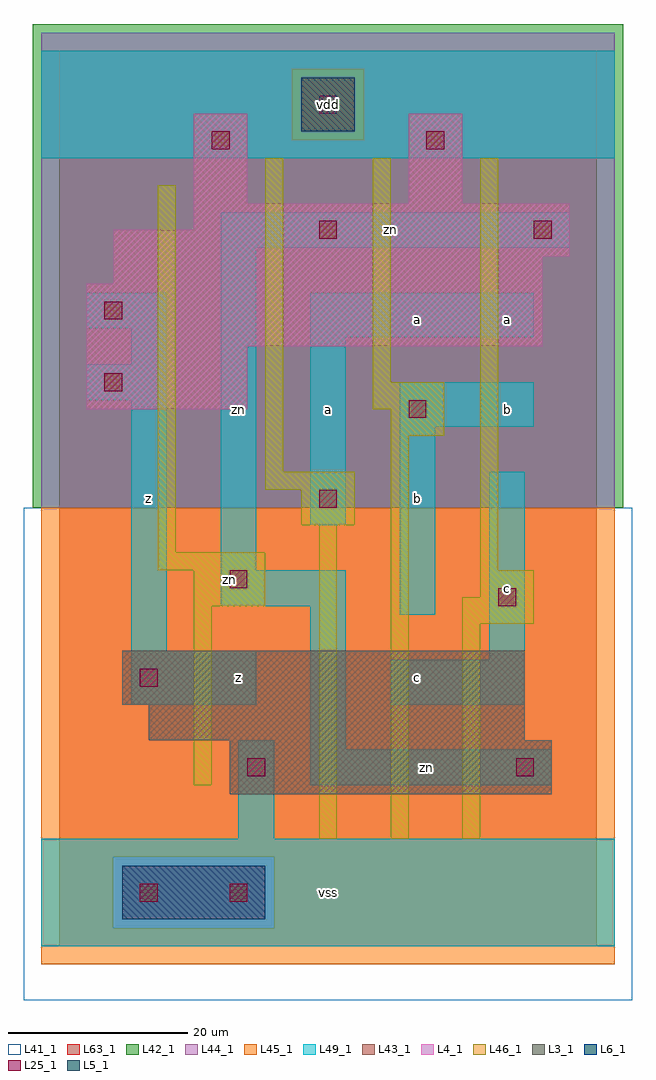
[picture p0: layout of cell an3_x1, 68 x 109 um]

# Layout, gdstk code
import gdstk
lib = gdstk.Library(unit=1e-6, precision=1e-09)
def R(c, l, rs):  # rectangles x0, y0, x1, y1
    for r in rs: c.add(gdstk.rectangle(r[:2], r[2:], *l))
L3_1 = (3, 1)
L4_1 = (4, 1)
L5_1 = (5, 1)
L6_1 = (6, 1)
L25_1 = (25, 1)
L41_1 = (41, 1)
L42_1 = (42, 1)
L43_1 = (43, 1)
L44_1 = (44, 1)
L45_1 = (45, 1)
L46_1 = (46, 1)
L49_1 = (49, 1)
L63_1 = (63, 1)

an3_x1 = lib.new_cell('an3_x1')
R(an3_x1, L3_1, [(19,17,55,23), (10,23,52,27), (7,27,52,33)])
R(an3_x1, L4_1, [(3,60,21,67), (3,67,54,74), (6,74,54,77), (6,77,57,80), (15,80,57,83), (15,83,21,93), (39,83,45,93)])
R(an3_x1, L5_1, [(27,91,33,97)])
R(an3_x1, L6_1, [(7,3,23,9)])
R(an3_x1, L25_1, [(9,5,11,7), (19,5,21,7), (21,19,23,21), (51,19,53,21), (9,29,11,31), (49,38,51,40), (19,40,21,42), (29,49,31,51), (39,59,41,61), (5,62,7,64), (5,70,7,72), (29,79,31,81), (53,79,55,81), (17,89,19,91), (41,89,43,91), (29,93,31,95)])
R(an3_x1, L41_1, [(-4,-6,64,49), (-3,-3,63,49)])
R(an3_x1, L42_1, [(-3,49,63,103)])
R(an3_x1, L43_1, [(7,3,23,9), (19,17,55,23), (10,23,52,27), (7,27,52,33), (3,60,21,67), (3,67,54,74), (6,74,54,77), (6,77,57,80), (15,80,57,83), (15,83,21,93), (39,83,45,93), (27,91,33,97)])
R(an3_x1, L44_1, [(6,2,24,10), (-2,49,62,90), (-2,90,26,98), (34,90,62,98), (-2,98,62,102)])
R(an3_x1, L45_1, [(-2,-2,62,2), (-2,2,6,10), (24,2,62,10), (-2,10,62,49), (26,90,34,98)])
R(an3_x1, L46_1, [(29,12,31,47), (37,12,39,57), (45,12,47,36), (15,18,17,38), (45,36,53,39), (15,38,23,42), (47,39,53,42), (11,42,23,44), (47,42,49,88), (11,44,13,85), (27,47,33,51), (23,51,33,53), (23,53,25,88), (37,57,43,60), (35,60,43,63), (35,63,37,88)])
R(an3_x1, L49_1, [(-2,0,62,12), (20,12,24,23), (28,18,55,22), (28,22,32,38), (8,27,22,33), (37,27,52,32), (48,32,52,53), (8,33,12,61), (38,37,42,58), (18,38,32,42), (18,42,22,78), (28,47,32,68), (38,58,53,63), (3,61,12,65), (8,65,12,69), (28,68,53,73), (3,69,12,73), (18,78,57,82), (-2,88,62,100)])
R(an3_x1, L63_1, [(0,0,60,100)])
an3_x1.add(gdstk.Label('zn', (19,41), layer=49, texttype=1))
an3_x1.add(gdstk.Label('z', (10,50), layer=49, texttype=1))
an3_x1.add(gdstk.Label('z', (10,50), layer=49, texttype=1))
an3_x1.add(gdstk.Label('z', (20,30), layer=49, texttype=1))
an3_x1.add(gdstk.Label('z', (20,30), layer=49, texttype=1))
an3_x1.add(gdstk.Label('zn', (20,60), layer=49, texttype=1))
an3_x1.add(gdstk.Label('vss', (30,6), layer=49, texttype=1))
an3_x1.add(gdstk.Label('vss', (30,6), layer=49, texttype=1))
an3_x1.add(gdstk.Label('c', (40,30), layer=49, texttype=1))
an3_x1.add(gdstk.Label('c', (40,30), layer=49, texttype=1))
an3_x1.add(gdstk.Label('b', (40,50), layer=49, texttype=1))
an3_x1.add(gdstk.Label('b', (40,50), layer=49, texttype=1))
an3_x1.add(gdstk.Label('a', (30,60), layer=49, texttype=1))
an3_x1.add(gdstk.Label('a', (30,60), layer=49, texttype=1))
an3_x1.add(gdstk.Label('a', (40,70), layer=49, texttype=1))
an3_x1.add(gdstk.Label('a', (40,70), layer=49, texttype=1))
an3_x1.add(gdstk.Label('vdd', (30,94), layer=49, texttype=1))
an3_x1.add(gdstk.Label('vdd', (30,94), layer=49, texttype=1))
an3_x1.add(gdstk.Label('zn', (41,20), layer=49, texttype=1))
an3_x1.add(gdstk.Label('c', (50,40), layer=49, texttype=1))
an3_x1.add(gdstk.Label('c', (50,40), layer=49, texttype=1))
an3_x1.add(gdstk.Label('b', (50,60), layer=49, texttype=1))
an3_x1.add(gdstk.Label('a', (50,70), layer=49, texttype=1))
an3_x1.add(gdstk.Label('b', (50,60), layer=49, texttype=1))
an3_x1.add(gdstk.Label('a', (50,70), layer=49, texttype=1))
an3_x1.add(gdstk.Label('zn', (37,80), layer=49, texttype=1))

lib.write_gds('an3_x1.gds')
